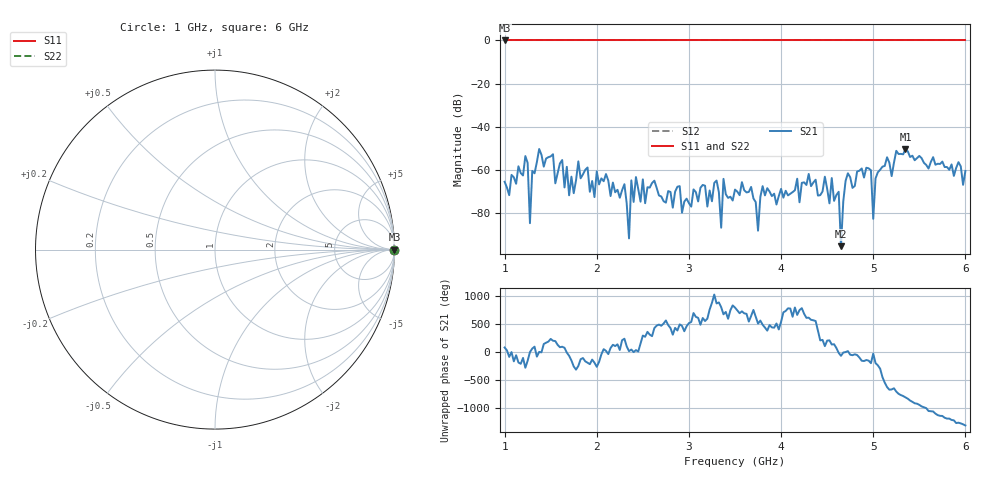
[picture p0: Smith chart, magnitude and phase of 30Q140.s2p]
!Keysight Technologies N9926A: A.08.19
!Date: Sunday, 01 March 2026 14:29:19
!Timezone: (GMT-06:00) Central Time (US & Canada)
!Model: N9926A
!Serial: MY53102721
!GPS Latitude:
!GPS Longitude:
!GPS TimeStamp: 0001-01-01 00:00:00Z
!GPS Seconds Since Last Read: 0
!CHECKSUM:1476825729
!Correction: S11()S21(ON U)S12()S22()
!S2P File: Measurements:S11,S21,S12,S22:
# Hz S DB R 50
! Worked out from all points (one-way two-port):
!   201 points, 1 GHz to 6 GHz, reference 50 ohm
!   highest |S21| = -50.16 dB at 5.35 GHz (marker M1); lowest = -95.2 dB at 4.65 GHz (marker M2)
!   lowest |S11| = 0.0 dB at 1 GHz (marker M3)
!   |S11| at or under -10 dB: nowhere
!   |S22| runs from 0.0 to 0.0 dB; largest |S21 - S12| = 1
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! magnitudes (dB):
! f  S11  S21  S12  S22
! 1 GHz  0.0  -65.4  0.0  0.0
! 1.225 GHz  0.0  -53.5  0.0  0.0
! 1.275 GHz  0.0  -84.5  0.0  0.0
! 1.3 GHz  0.0  -60.4  0.0  0.0
! 1.375 GHz  0.0  -50.2  0.0  0.0
! 1.7 GHz  0.0  -71.6  0.0  0.0
! 1.85 GHz  0.0  -62.0  0.0  0.0
! 2.35 GHz  0.0  -91.6  0.0  0.0
! 2.425 GHz  0.0  -63.2  0.0  0.0
! 2.675 GHz  0.0  -71.7  0.0  0.0
! 3.5 GHz  0.0  -69.0  0.0  0.0
! 3.75 GHz  0.0  -88.0  0.0  0.0
! 4.35 GHz  0.0  -65.7  0.0  0.0
! 4.65 GHz  0.0  -95.2  0.0  0.0
! 4.725 GHz  0.0  -61.5  0.0  0.0
! 4.925 GHz  0.0  -58.9  0.0  0.0
! 4.975 GHz  0.0  -60.0  0.0  0.0
! 5 GHz  0.0  -82.5  0.0  0.0
! 5.025 GHz  0.0  -63.8  0.0  0.0
! 5.175 GHz  0.0  -56.6  0.0  0.0
! 5.35 GHz  0.0  -50.2  0.0  0.0
! 6 GHz  0.0  -60.4  0.0  0.0
